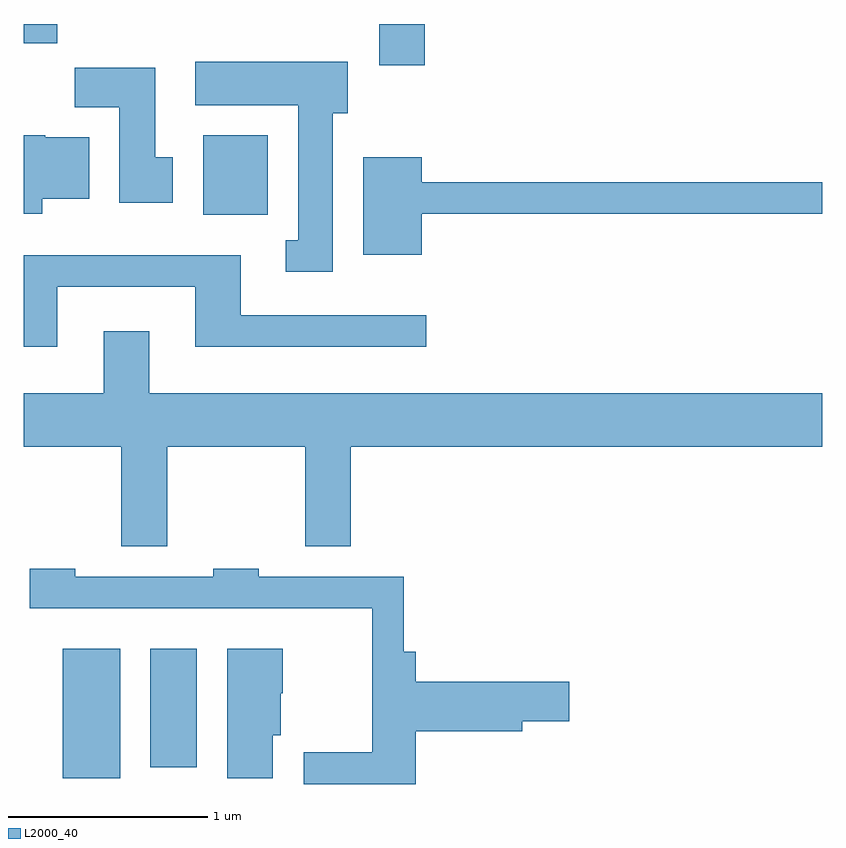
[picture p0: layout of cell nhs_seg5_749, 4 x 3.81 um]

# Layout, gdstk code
import gdstk
lib = gdstk.Library(unit=1e-6, precision=1e-09)
def R(c, l, rs):  # rectangles x0, y0, x1, y1
    for r in rs: c.add(gdstk.rectangle(r[:2], r[2:], *l))
def P(c, l, *ps):  # polygons
    for p in ps: c.add(gdstk.Polygon(p, *l))
L2000_40 = (2000, 40)

nhs_seg5_749 = lib.new_cell('nhs_seg5_749')
R(nhs_seg5_749, L2000_40, [(207.806,1406.296,208.094,1406.944), (208.246,1406.351,208.479,1406.944), (208.511,1409.116,208.834,1409.514), (209.391,1409.866,209.619,1410.072), (207.611,1409.976,207.779,1410.072)])
P(nhs_seg5_749, L2000_40, [(209.159,1409.626),(209.234,1409.626),(209.234,1409.884),(208.471,1409.884),(208.471,1409.666),(208.986,1409.666),(208.986,1408.989),(208.923,1408.989),(208.923,1408.831),(209.159,1408.831)],
  [(208.359,1409.404),(208.269,1409.404),(208.269,1409.854),(207.866,1409.854),(207.866,1409.656),(208.091,1409.656),(208.091,1409.176),(208.359,1409.176)],
  [(207.704,1409.196),(207.939,1409.196),(207.939,1409.504),(207.72,1409.504),(207.72,1409.514),(207.611,1409.514),(207.611,1409.121),(207.704,1409.121)],
  [(209.604,1409.121),(211.611,1409.121),(211.611,1409.279),(209.604,1409.279),(209.604,1409.404),(209.311,1409.404),(209.311,1408.916),(209.604,1408.916)],
  [(207.779,1408.756),(208.471,1408.756),(208.471,1408.456),(209.628,1408.456),(209.628,1408.614),(208.699,1408.614),(208.699,1408.914),(207.611,1408.914),(207.611,1408.456),(207.779,1408.456)],
  [(208.329,1407.956),(209.021,1407.956),(209.021,1407.456),(209.249,1407.456),(209.249,1407.956),(211.611,1407.956),(211.611,1408.224),(208.239,1408.224),(208.239,1408.534),(208.011,1408.534),(208.011,1408.224),(207.611,1408.224),(207.611,1407.956),(208.101,1407.956),(208.101,1407.456),(208.329,1407.456)],
  [(209.574,1406.531),(210.109,1406.531),(210.109,1406.581),(210.344,1406.581),(210.344,1406.779),(209.574,1406.779),(209.574,1406.929),(209.514,1406.929),(209.514,1407.304),(208.789,1407.304),(208.789,1407.344),(208.561,1407.344),(208.561,1407.304),(207.869,1407.304),(207.869,1407.344),(207.641,1407.344),(207.641,1407.146),(209.356,1407.146),(209.356,1406.424),(209.013,1406.424),(209.013,1406.266),(209.574,1406.266)],
  [(208.859,1406.511),(208.899,1406.511),(208.899,1406.72),(208.909,1406.72),(208.909,1406.944),(208.631,1406.944),(208.631,1406.296),(208.859,1406.296)])

lib.write_gds('nhs_seg5_749.gds')
